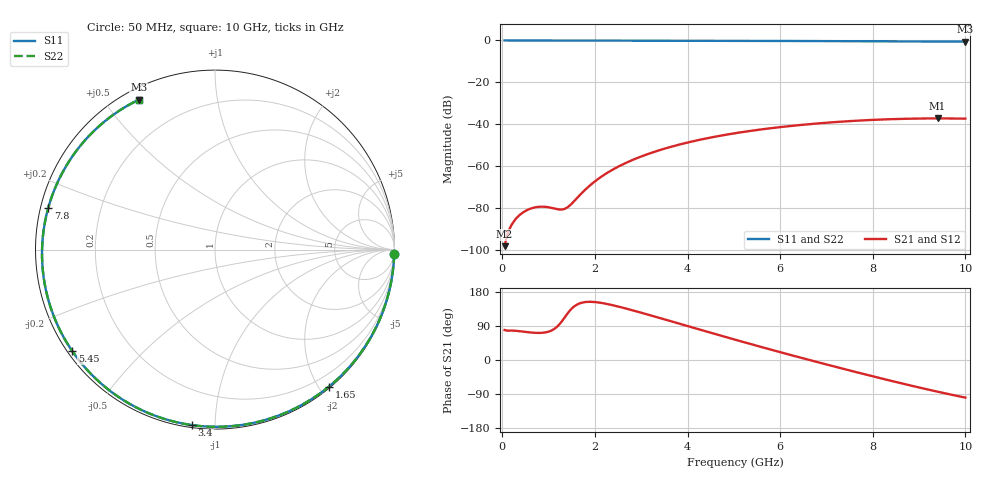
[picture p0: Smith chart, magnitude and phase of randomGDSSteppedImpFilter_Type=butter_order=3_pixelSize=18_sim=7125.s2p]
! freq	dB(S11)	phase(S11)	dB(S12)	phase(S12)
!  dB(S21)	phase(S21)	dB(S22)	phase(S22)
!S-par simulation data
#  GHz  S  DB  R 50
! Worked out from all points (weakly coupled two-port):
!   200 points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, 50 MHz to 10 GHz, reference 50 ohm
!   highest |S21| = -37.13 dB at 9.4 GHz (marker M1); lowest = -98.0 dB at 50 MHz (marker M2)
!   lowest |S11| = -0.6 dB at 10 GHz (marker M3), VSWR 30.67, Z = 2.24 + j30.6 ohm
!   |S11| at or under -10 dB: nowhere
!   |S22| runs from -0.6 to 0.0 dB; largest |S21 - S12| = 0
!   S11 on the Smith chart (normalised r, x): 50 MHz: 2, -76; 1.65 GHz: 0.02, -2.13; 3.4 GHz: 0.01, -0.88; 5.45 GHz: 0.01, -0.32; 7.8 GHz: 0.02, +0.12; 10 GHz: 0.04, +0.61
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0.05  -0.01 -1.5  -97.97 79.2  -97.97 79.2  -0.00 -1.5
0.65  -0.03 -20.2  -79.80 72.2  -79.80 72.2  -0.03 -20.2
0.85  -0.03 -26.4  -79.16 71.7  -79.16 71.7  -0.03 -26.4
1.15  -0.04 -35.5  -80.17 84.5  -80.17 84.5  -0.04 -35.5
1.35  -0.05 -41.5  -80.18 112.9  -80.18 112.9  -0.05 -41.5
1.45  -0.06 -44.4  -78.74 129.1  -78.74 129.1  -0.06 -44.4
1.65  -0.06 -50.3  -74.22 148.4  -74.22 148.4  -0.06 -50.3
1.75  -0.07 -53.2  -71.96 152.1  -71.96 152.1  -0.07 -53.2
2.05  -0.08 -61.7  -66.27 152.2  -66.27 152.2  -0.08 -61.7
2.45  -0.09 -72.8  -60.72 142.7  -60.72 142.7  -0.09 -72.8
2.9  -0.10 -84.7  -56.12 128.2  -56.12 128.2  -0.10 -84.7
3.4  -0.12 -97.5  -52.22 110.8  -52.22 110.8  -0.12 -97.5
4.15  -0.15 -115.5  -47.86 84.3  -47.86 84.3  -0.15 -115.5
5.05  -0.19 -135.9  -44.09 52.8  -44.09 52.8  -0.19 -135.9
5.45  -0.21 -144.6  -42.79 39.1  -42.79 39.1  -0.21 -144.5
6.1  -0.25 -158.4  -41.03 17.4  -41.03 17.4  -0.25 -158.4
6.7  -0.29 -170.9  -39.73 -2.2  -39.73 -2.2  -0.29 -170.9
7.25  -0.33 177.6  -38.78 -19.7  -38.78 -19.7  -0.33 177.6
7.8  -0.38 166.0  -38.04 -36.9  -38.04 -36.9  -0.38 166.0
8.35  -0.42 154.2  -37.52 -53.6  -37.52 -53.6  -0.42 154.3
9.4  -0.51 130.9  -37.13 -83.7  -37.13 -83.7  -0.51 131.0
10  -0.57 117.0  -37.23 -99.2  -37.23 -99.2  -0.57 117.0
